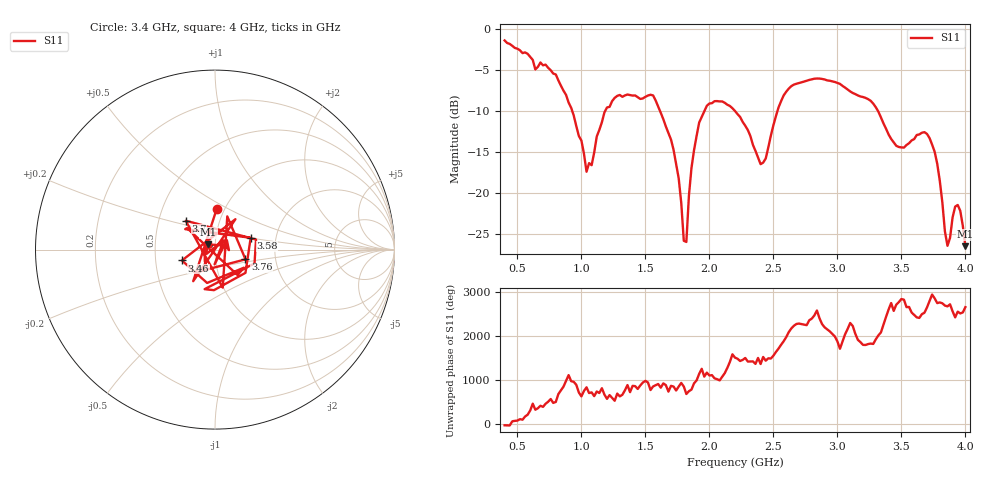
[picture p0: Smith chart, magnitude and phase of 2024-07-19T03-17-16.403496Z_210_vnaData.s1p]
!Created with skrf (http://scikit-rf.org).
# Hz S RI R 50.0
!freq ReS11 ImS11
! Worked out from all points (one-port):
!   181 points, 400 MHz to 4 GHz, reference 50 ohm
!   lowest |S11| = -26.5 dB at 4 GHz (marker M1), VSWR 1.10, Z = 46.3 + j2.67 ohm
!   |S11| at or under -10 dB: 1.615 GHz to 1.96 GHz (345.5 MHz wide, 19.3 % of centre); 2.201 GHz to 2.531 GHz (330.6 MHz wide, 14 % of centre); 3.318 GHz to end of sweep (the widest 3 of 4)
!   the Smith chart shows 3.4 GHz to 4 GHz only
!   S11 on the Smith chart (normalised r, x): 3.4 GHz: 0.92, +0.44; 3.46 GHz: 0.68, -0.09; 3.58 GHz: 1.48, +0.20; 3.7 GHz: 0.69, +0.23; 3.76 GHz: 1.40, -0.16; 4 GHz: 0.93, +0.05
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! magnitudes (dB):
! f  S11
! 400 MHz  -1.4
! 860 MHz  -7.5
! 1.04 GHz  -17.4
! 1.18 GHz  -10.1
! 1.3 GHz  -8.0
! 1.56 GHz  -8.1
! 1.7 GHz  -13.5
! 1.76 GHz  -18.2
! 1.8 GHz  -25.9
! 1.82 GHz  -26.0
! 1.86 GHz  -16.9
! 1.92 GHz  -11.4
! 2.04 GHz  -8.8
! 2.2 GHz  -10.0
! 2.4 GHz  -16.5
! 2.56 GHz  -8.8
! 2.66 GHz  -6.8
! 3.1 GHz  -7.6
! 3.28 GHz  -9.1
! 3.4 GHz  -12.9
! 3.46 GHz  -14.2
! 3.56 GHz  -13.9
! 3.58 GHz  -13.6
! 3.7 GHz  -12.8
! 3.76 GHz  -15.0
! 3.86 GHz  -26.5
! 3.94 GHz  -21.5
! 4 GHz  -26.5
